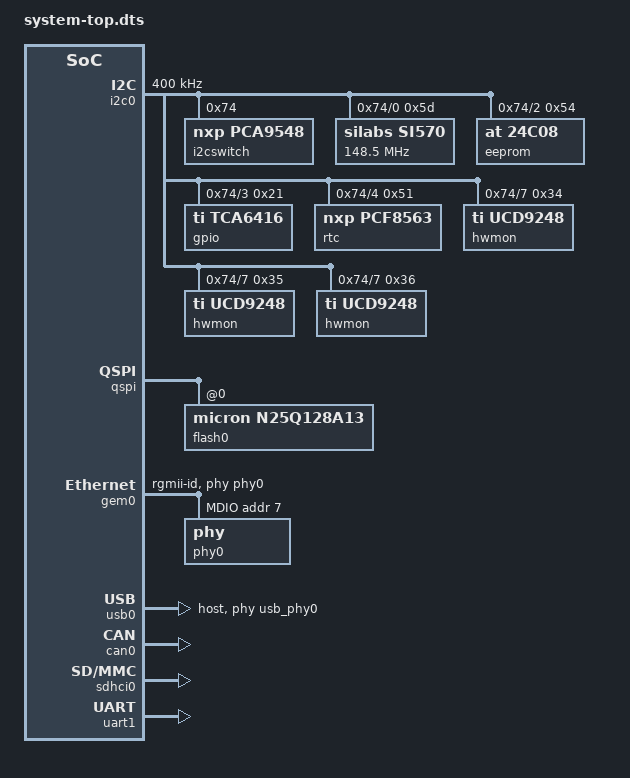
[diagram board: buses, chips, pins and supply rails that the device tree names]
/dts-v1/;
/include/ "system-conf.dtsi"
/ {
};

&i2c0 {
	#address-cells = <1>;
	#size-cells = <0>;
	i2cswitch@74 {
		compatible = "nxp,pca9548";
		#address-cells = <1>;
		#size-cells = <0>;
		reg = <0x74>;
		i2c@0 {
			#address-cells = <1>;
			#size-cells = <0>;
			reg = <0>;
			si570: clock-generator@5d {
				#clock-cells = <0>;
				compatible = "silabs,si570";
				temperature-stability = <50>;
				reg = <0x5d>;
				factory-fout = <156250000>;
				clock-frequency = <148500000>;
			};
		};

		i2c@2 {
			#address-cells = <1>;
			#size-cells = <0>;
			reg = <2>;
			eeprom@54 {
				compatible = "at,24c08";
				reg = <0x54>;
			};
		};

		i2c@3 {
			#address-cells = <1>;
			#size-cells = <0>;
			reg = <3>;
			gpio@21 {
				compatible = "ti,tca6416";
				reg = <0x21>;
				gpio-controller;
				#gpio-cells = <2>;
			};
		};

		i2c@4 {
			#address-cells = <1>;
			#size-cells = <0>;
			reg = <4>;
			rtc@54 {
				compatible = "nxp,pcf8563";
				reg = <0x51>;
			};
		};

		i2c@7 {
			#address-cells = <1>;
			#size-cells = <0>;
			reg = <7>;
			hwmon@52 {
				compatible = "ti,ucd9248";
				reg = <52>;
			};
			hwmon@53 {
				compatible = "ti,ucd9248";
				reg = <53>;
			};
			hwmon@54 {
				compatible = "ti,ucd9248";
				reg = <54>;
			};
		};
	};
};

&qspi {
	flash0: flash@0 {
		compatible = "micron,n25q128a13";
	};
};

&gem0 {
	phy-handle = <&phy0>;
	ps7_ethernet_0_mdio: mdio {
		#address-cells = <1>;
		#size-cells = <0>;
		phy0: phy@7 {
			device_type = "ethernet-phy";
			reg = <7>;
		};
	};
};

/{
	usb_phy0: usb_phy@0 {
		compatible = "ulpi-phy";
		#phy-cells = <0>;
		reg = <0xe0002000 0x1000>;
		view-port = <0x0170>;
		drv-vbus;
	};
};

&usb0 {
	dr_mode = "host";
	usb-phy = <&usb_phy0>;
};

/ {
	amba_pl: amba_pl {
		#address-cells = <1>;
		#size-cells = <1>;
		compatible = "simple-bus";
		ranges ;
		compute_0: compute@43c00000 {
			compatible = "generic-uio";
			interrupt-parent = <&intc>;
			interrupts = <0 29 4>;
			reg = <0x43c00000 0x10000 0x43c10000 0x10000>;
			xlnx,s-axi-axilite-addr-width = <0x9>;
			xlnx,s-axi-axilite-data-width = <0x20>;
			xlnx,s-axi-axilites-addr-width = <0x5>;
			xlnx,s-axi-axilites-data-width = <0x20>;
		};
	};
};


/ {
	cpus {
		cpu@0 {
			operating-points = <666666 1000000 333333 1000000>;
		};
	};
};
&can0 {
	status = "okay";
};
&gem0 {
	enet-reset = <&gpio0 11 0>;
	phy-mode = "rgmii-id";
	status = "okay";
	xlnx,ptp-enet-clock = <0x69f6bcb>;
};
&gpio0 {
	emio-gpio-width = <64>;
	gpio-mask-high = <0x0>;
	gpio-mask-low = <0x5600>;
};
&i2c0 {
	clock-frequency = <400000>;
	i2c-reset = <&gpio0 13 0>;
	status = "okay";
};
&intc {
	num_cpus = <2>;
	num_interrupts = <96>;
};
&qspi {
	is-dual = <0>;
	num-cs = <1>;
	status = "okay";
};
&sdhci0 {
	status = "okay";
	xlnx,has-cd = <0x1>;
	xlnx,has-power = <0x0>;
	xlnx,has-wp = <0x1>;
};
&uart1 {
	device_type = "serial";
	port-number = <0>;
	status = "okay";
};
&usb0 {
	dr_mode = "host";
	phy_type = "ulpi";
	status = "okay";
	usb-reset = <&gpio0 7 0>;
};
&clkc {
	fclk-enable = <0xf>;
	ps-clk-frequency = <33333333>;
};

